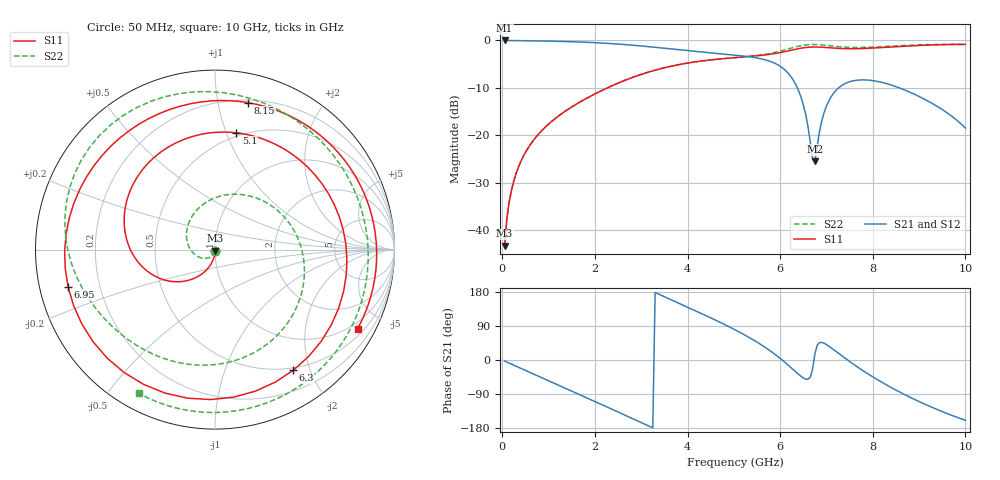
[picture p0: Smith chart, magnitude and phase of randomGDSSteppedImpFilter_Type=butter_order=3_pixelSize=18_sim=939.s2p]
! freq	dB(S11)	phase(S11)	dB(S12)	phase(S12)
!  dB(S21)	phase(S21)	dB(S22)	phase(S22)
!S-par simulation data
#  GHz  S  DB  R 50
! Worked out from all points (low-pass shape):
!   200 points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, 50 MHz to 10 GHz, reference 50 ohm
!   highest |S21| = -0.01 dB at 50 MHz (marker M1); lowest = -25.6 dB at 6.75 GHz (marker M2)
!   |S21| within 3 dB of the highest: start of sweep to 4.913 GHz
!   lowest |S11| = -43.4 dB at 50 MHz (marker M3), VSWR 1.01, Z = 50 - j0.679 ohm
!   |S11| at or under -10 dB: start of sweep to 2.273 GHz
!   |S22| runs from -43.4 to -0.8 dB; largest |S21 - S12| = 0
!   S11 on the Smith chart (normalised r, x): 50 MHz: 1.00, -0.01; 5.1 GHz: 0.47, +1.08; 6.3 GHz: 0.46, -1.75; 6.95 GHz: 0.09, -0.12; 8.15 GHz: 0.22, +1.22; 10 GHz: 0.74, -3.73
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0.05  -43.37 -89.4  -0.01 -2.8  -0.01 -2.8  -43.44 -92.7
0.2  -31.53 -94.3  -0.02 -10.9  -0.02 -10.9  -31.59 -106.6
0.5  -23.62 -102.3  -0.06 -27.2  -0.06 -27.2  -23.68 -133.0
1.15  -16.42 -117.8  -0.18 -62.6  -0.18 -62.6  -16.44 170.9
1.75  -12.60 -132.2  -0.36 -95.6  -0.36 -95.6  -12.59 119.3
2.65  -8.42 -158.9  -0.87 -145.7  -0.87 -145.7  -8.41 46.1
3.4  -6.02 172.1  -1.55 172.6  -1.55 172.6  -6.01 -7.9
4.25  -4.41 131.9  -2.40 125.5  -2.40 125.5  -4.41 -61.3
5.05  -3.63 83.3  -3.13 78.2  -3.13 78.2  -3.61 -106.9
5.1  -3.59 79.7  -3.18 75.0  -3.18 75.0  -3.57 -109.7
5.55  -3.21 41.8  -3.80 43.5  -3.80 43.5  -3.11 -135.3
5.9  -2.74 2.6  -4.90 13.9  -4.90 13.9  -2.49 -157.2
6.3  -1.92 -57.0  -8.65 -27.4  -8.65 -27.4  -1.45 171.3
6.55  -1.50 -100.5  -15.57 -50.4  -15.57 -50.4  -0.95 146.3
6.7  -1.39 -126.5  -25.14 -24.1  -25.14 -24.1  -0.86 130.1
6.75  -1.39 -134.8  -25.56 15.6  -25.56 15.6  -0.86 124.6
6.95  -1.47 -165.8  -15.21 44.1  -15.21 44.1  -1.00 102.7
7.5  -1.75 130.1  -8.73 -4.1  -8.73 -4.1  -1.46 47.3
8.15  -1.52 77.4  -8.76 -55.5  -8.76 -55.5  -1.33 -8.0
8.35  -1.40 63.6  -9.28 -69.4  -9.28 -69.4  -1.22 -22.8
9.15  -0.99 14.5  -12.58 -118.0  -12.58 -118.0  -0.90 -72.9
10  -0.83 -29.0  -18.51 -159.2  -18.51 -159.2  -0.85 -117.9
